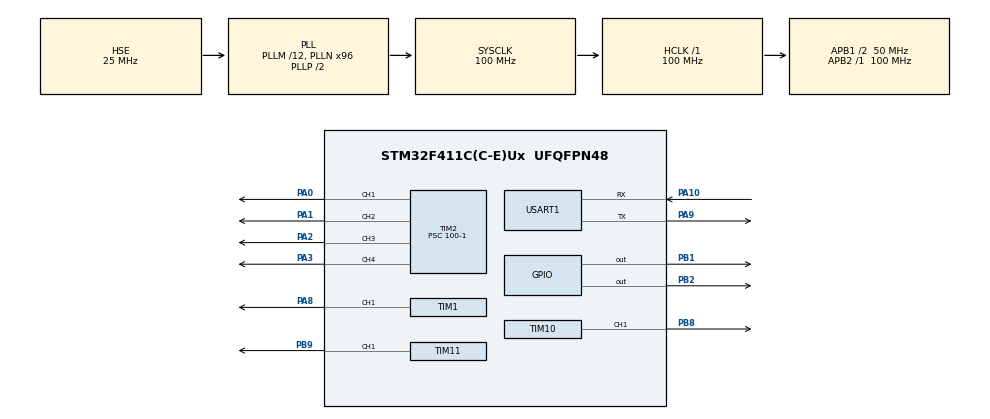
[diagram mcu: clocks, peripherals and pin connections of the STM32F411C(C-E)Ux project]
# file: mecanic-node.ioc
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Mcu.Family=STM32F4
Mcu.Name=STM32F411C(C-E)Ux
Mcu.Package=UFQFPN48
NVIC.PriorityGroup=NVIC_PRIORITYGROUP_4
NVIC.TIM2_IRQn=true\:0\:0\:false\:false\:true\:true\:true\:true
NVIC.USART1_IRQn=true\:0\:0\:false\:false\:true\:true\:true\:true
PA0-WKUP.GPIO_PuPd=GPIO_PULLDOWN
PA0-WKUP.Signal=S_TIM2_CH1_ETR
PA1.GPIO_PuPd=GPIO_PULLDOWN
PA1.Signal=S_TIM2_CH2
PA10.Mode=Asynchronous
PA10.Signal=USART1_RX
PA13.Mode=Serial_Wire
PA13.Signal=SYS_JTMS-SWDIO
PA14.Mode=Serial_Wire
PA14.Signal=SYS_JTCK-SWCLK
PA2.GPIO_PuPd=GPIO_PULLDOWN
PA2.Signal=S_TIM2_CH3
PA3.GPIO_PuPd=GPIO_PULLDOWN
PA3.Signal=S_TIM2_CH4
PA8.Signal=S_TIM1_CH1
PA9.Mode=Asynchronous
PA9.Signal=USART1_TX
PB1.Signal=GPIO_Output
PB2.Signal=GPIO_Output
PB8.Signal=S_TIM10_CH1
PB9.Signal=S_TIM11_CH1
PH0\ -\ OSC_IN.Mode=HSE-External-Oscillator
PH0\ -\ OSC_IN.Signal=RCC_OSC_IN
PH1\ -\ OSC_OUT.Mode=HSE-External-Oscillator
PH1\ -\ OSC_OUT.Signal=RCC_OSC_OUT
ProjectManager.HeapSize=0x200
ProjectManager.StackSize=0x400
ProjectManager.TargetToolchain=STM32CubeIDE
RCC.48MHZClocksFreq_Value=50000000
RCC.AHBFreq_Value=100000000
RCC.APB1CLKDivider=RCC_HCLK_DIV2
RCC.APB1Freq_Value=50000000
RCC.APB1TimFreq_Value=100000000
RCC.APB2Freq_Value=100000000
RCC.APB2TimFreq_Value=100000000
RCC.CortexFreq_Value=100000000
RCC.HCLKFreq_Value=100000000
RCC.HSE_VALUE=25000000
RCC.HSI_VALUE=16000000
RCC.LSE_VALUE=32768
RCC.PLLM=12
RCC.PLLN=96
RCC.PLLSourceVirtual=RCC_PLLSOURCE_HSE
RCC.SYSCLKFreq_VALUE=100000000
RCC.SYSCLKSource=RCC_SYSCLKSOURCE_PLLCLK
RCC.VCOOutputFreq_Value=200000000
SH.S_TIM10_CH1.0=TIM10_CH1,PWM Generation1 CH1
SH.S_TIM11_CH1.0=TIM11_CH1,PWM Generation1 CH1
SH.S_TIM1_CH1.0=TIM1_CH1,PWM Generation1 CH1
SH.S_TIM2_CH1_ETR.0=TIM2_CH1,Output Compare1 CH1
SH.S_TIM2_CH2.0=TIM2_CH2,Output Compare2 CH2
SH.S_TIM2_CH3.0=TIM2_CH3,Output Compare3 CH3
SH.S_TIM2_CH4.0=TIM2_CH4,Output Compare4 CH4
TIM1.Channel-PWM\ Generation1\ CH1=TIM_CHANNEL_1
TIM1.Period=10000-1
TIM1.Prescaler=200-1
TIM10.Channel=TIM_CHANNEL_1
TIM11.Channel=TIM_CHANNEL_1
TIM2.AutoReloadPreload=TIM_AUTORELOAD_PRELOAD_ENABLE
TIM2.Channel-Output\ Compare1\ CH1=TIM_CHANNEL_1
TIM2.Channel-Output\ Compare2\ CH2=TIM_CHANNEL_2
TIM2.Channel-Output\ Compare3\ CH3=TIM_CHANNEL_3
TIM2.Channel-Output\ Compare4\ CH4=TIM_CHANNEL_4
TIM2.OC1Preload=DISABLE
TIM2.OCMode_1=TIM_OCMODE_TOGGLE
TIM2.OCMode_2=TIM_OCMODE_TOGGLE
TIM2.OCMode_3=TIM_OCMODE_TOGGLE
TIM2.OCMode_4=TIM_OCMODE_TOGGLE
TIM2.Prescaler=100-1
USART1.VirtualMode=VM_ASYNC
VP_TIM10_VS_ClockSourceINT.Mode=Enable_Timer
VP_TIM11_VS_ClockSourceINT.Mode=Enable_Timer
VP_TIM1_VS_ClockSourceINT.Mode=Internal
board=custom

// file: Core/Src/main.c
/* USER CODE BEGIN Header */
/**
  ******************************************************************************
  * @file           : main.c
  * @brief          : Main program body
  ******************************************************************************
  * @attention
  *
  * Copyright (c) 2025 STMicroelectronics.
  * All rights reserved.
  *
  * This software is licensed under terms that can be found in the LICENSE file
  * in the root directory of this software component.
  * If no LICENSE file comes with this software, it is provided AS-IS.
  *
  ******************************************************************************
  */
/* USER CODE END Header */
#include "main.h"

/* USER CODE BEGIN Includes */
#include "servo.h"
#include "stepper.h"
#include "UART_mec.h"
/* USER CODE END Includes */

TIM_HandleTypeDef htim1;
TIM_HandleTypeDef htim2;
TIM_HandleTypeDef htim10;
TIM_HandleTypeDef htim11;

UART_HandleTypeDef huart1;

/* USER CODE BEGIN PV */
servo_t servo1 ={
		.htim = &htim1,
		.channel = TIM_CHANNEL_1,
		.current_angle=0,

};
servo_t servo2 ={
		.htim = &htim1,
		.channel = TIM_CHANNEL_3,
		.current_angle=0,

};
stepper_t stepper1 = {
		.htim = &htim2,
		.channel = TIM_CHANNEL_1,
		.GPIO_Direction = GPIOB,
		.GPIO_Pin_Direction  =GPIO_PIN_1,
		.counter=0,

};
stepper_t stepper2 = {
		.htim = &htim2,
		.channel = TIM_CHANNEL_2,
		.GPIO_Direction = GPIOB,
		.GPIO_Pin_Direction  =GPIO_PIN_2,
		.counter=0,

};
stepper_t stepper3 = {
		.htim = &htim2,
		.channel = TIM_CHANNEL_3,
		.GPIO_Direction = GPIOB,
		.GPIO_Pin_Direction  =GPIO_PIN_4,
		.counter=0,

};
stepper_t stepper4 = {
		.htim = &htim2,
		.channel = TIM_CHANNEL_4,
		.GPIO_Direction = GPIOB,
		.GPIO_Pin_Direction  =GPIO_PIN_3,
		.counter=0,

};
uint32_t count=0;
uint32_t step=100;
uint8_t  stepper_enb =1;
uint8_t  dir =0;
uint16_t speed = 0;
float speed_servo =0;
float angle_servo =0;
float accel =0;

/* USER CODE END PV */

void SystemClock_Config(void);
static void MX_GPIO_Init(void);
static void MX_TIM1_Init(void);
static void MX_TIM2_Init(void);
static void MX_TIM10_Init(void);
static void MX_TIM11_Init(void);
static void MX_USART1_UART_Init(void);

/* USER CODE BEGIN 0 */

void HAL_TIM_OC_DelayElapsedCallback(TIM_HandleTypeDef *htim)
{
    if (htim->Instance == TIM2){

    if (htim->Channel == HAL_TIM_ACTIVE_CHANNEL_1)
    {
        stepper_update(&stepper1);
    }
    else if (htim->Channel == HAL_TIM_ACTIVE_CHANNEL_2)
    {
        stepper_update(&stepper2);
    }
    if (htim->Channel == HAL_TIM_ACTIVE_CHANNEL_3)
       {
           stepper_update(&stepper3);
       }
       else if (htim->Channel == HAL_TIM_ACTIVE_CHANNEL_4)
       {
           stepper_update(&stepper4);
       }

    }
}

/* USER CODE END 0 */

int main(void)
{

  /* MCU Configuration--------------------------------------------------------*/

  /* Reset of all peripherals, Initializes the Flash interface and the Systick. */
  HAL_Init();

  /* Configure the system clock */
  SystemClock_Config();

  /* Initialize all configured peripherals */
  MX_GPIO_Init();
  MX_TIM1_Init();
  MX_TIM2_Init();
  MX_TIM10_Init();
  MX_TIM11_Init();
  MX_USART1_UART_Init();
  /* USER CODE BEGIN 2 */
 servo_init(&servo1);

  UART_receive();

  stepper_move_accel(&stepper1, step, speed, accel, dir);
  stepper_move_accel(&stepper2, step, speed, accel, dir);

  //stepper_move(&stepper2, step, speed, dir);

  /* USER CODE END 2 */

  /* Infinite loop */
  /* USER CODE BEGIN WHILE */
  while (1)
  {
	  //servo_set_speed(&servo1, 70);

	  //servo_move_smooth(&servo1, angle_servo, speed_servo);
	  //servo_set_speed(&servo1, speed_servo);

/*
	  	  if(stepper_enb){
	  		  stepper_move(&stepper_hug, step, speed, dir);

	  	  }else {
	  		 stepper_stop(&stepper_hug);

	  	  }*/

    /* USER CODE END WHILE */

  }
}

void SystemClock_Config(void)
{
  RCC_OscInitTypeDef RCC_OscInitStruct = {0};
  RCC_ClkInitTypeDef RCC_ClkInitStruct = {0};

  /** Configure the main internal regulator output voltage
  */
  __HAL_RCC_PWR_CLK_ENABLE();
  __HAL_PWR_VOLTAGESCALING_CONFIG(PWR_REGULATOR_VOLTAGE_SCALE1);

  /** Initializes the RCC Oscillators according to the specified parameters
  * in the RCC_OscInitTypeDef structure.
  */
  RCC_OscInitStruct.OscillatorType = RCC_OSCILLATORTYPE_HSE;
  RCC_OscInitStruct.HSEState = RCC_HSE_ON;
  RCC_OscInitStruct.PLL.PLLState = RCC_PLL_ON;
  RCC_OscInitStruct.PLL.PLLSource = RCC_PLLSOURCE_HSE;
  RCC_OscInitStruct.PLL.PLLM = 12;
  RCC_OscInitStruct.PLL.PLLN = 96;
  RCC_OscInitStruct.PLL.PLLP = RCC_PLLP_DIV2;
  RCC_OscInitStruct.PLL.PLLQ = 4;
  if (HAL_RCC_OscConfig(&RCC_OscInitStruct) != HAL_OK)
  {
    Error_Handler();
  }

  /** Initializes the CPU, AHB and APB buses clocks
  */
  RCC_ClkInitStruct.ClockType = RCC_CLOCKTYPE_HCLK|RCC_CLOCKTYPE_SYSCLK
                              |RCC_CLOCKTYPE_PCLK1|RCC_CLOCKTYPE_PCLK2;
  RCC_ClkInitStruct.SYSCLKSource = RCC_SYSCLKSOURCE_PLLCLK;
  RCC_ClkInitStruct.AHBCLKDivider = RCC_SYSCLK_DIV1;
  RCC_ClkInitStruct.APB1CLKDivider = RCC_HCLK_DIV2;
  RCC_ClkInitStruct.APB2CLKDivider = RCC_HCLK_DIV1;

  if (HAL_RCC_ClockConfig(&RCC_ClkInitStruct, FLASH_LATENCY_3) != HAL_OK)
  {
    Error_Handler();
  }
}

static void MX_TIM1_Init(void)
{

  TIM_ClockConfigTypeDef sClockSourceConfig = {0};
  TIM_MasterConfigTypeDef sMasterConfig = {0};
  TIM_OC_InitTypeDef sConfigOC = {0};
  TIM_BreakDeadTimeConfigTypeDef sBreakDeadTimeConfig = {0};

  htim1.Instance = TIM1;
  htim1.Init.Prescaler = 200-1;
  htim1.Init.CounterMode = TIM_COUNTERMODE_UP;
  htim1.Init.Period = 10000-1;
  htim1.Init.ClockDivision = TIM_CLOCKDIVISION_DIV1;
  htim1.Init.RepetitionCounter = 0;
  htim1.Init.AutoReloadPreload = TIM_AUTORELOAD_PRELOAD_DISABLE;
  if (HAL_TIM_Base_Init(&htim1) != HAL_OK)
  {
    Error_Handler();
  }
  sClockSourceConfig.ClockSource = TIM_CLOCKSOURCE_INTERNAL;
  if (HAL_TIM_ConfigClockSource(&htim1, &sClockSourceConfig) != HAL_OK)
  {
    Error_Handler();
  }
  if (HAL_TIM_PWM_Init(&htim1) != HAL_OK)
  {
    Error_Handler();
  }
  sMasterConfig.MasterOutputTrigger = TIM_TRGO_RESET;
  sMasterConfig.MasterSlaveMode = TIM_MASTERSLAVEMODE_DISABLE;
  if (HAL_TIMEx_MasterConfigSynchronization(&htim1, &sMasterConfig) != HAL_OK)
  {
    Error_Handler();
  }
  sConfigOC.OCMode = TIM_OCMODE_PWM1;
  sConfigOC.Pulse = 0;
  sConfigOC.OCPolarity = TIM_OCPOLARITY_HIGH;
  sConfigOC.OCNPolarity = TIM_OCNPOLARITY_HIGH;
  sConfigOC.OCFastMode = TIM_OCFAST_DISABLE;
  sConfigOC.OCIdleState = TIM_OCIDLESTATE_RESET;
  sConfigOC.OCNIdleState = TIM_OCNIDLESTATE_RESET;
  if (HAL_TIM_PWM_ConfigChannel(&htim1, &sConfigOC, TIM_CHANNEL_1) != HAL_OK)
  {
    Error_Handler();
  }
  sBreakDeadTimeConfig.OffStateRunMode = TIM_OSSR_DISABLE;
  sBreakDeadTimeConfig.OffStateIDLEMode = TIM_OSSI_DISABLE;
  sBreakDeadTimeConfig.LockLevel = TIM_LOCKLEVEL_OFF;
  sBreakDeadTimeConfig.DeadTime = 0;
  sBreakDeadTimeConfig.BreakState = TIM_BREAK_DISABLE;
  sBreakDeadTimeConfig.BreakPolarity = TIM_BREAKPOLARITY_HIGH;
  sBreakDeadTimeConfig.AutomaticOutput = TIM_AUTOMATICOUTPUT_DISABLE;
  if (HAL_TIMEx_ConfigBreakDeadTime(&htim1, &sBreakDeadTimeConfig) != HAL_OK)
  {
    Error_Handler();
  }
  HAL_TIM_MspPostInit(&htim1);

}

static void MX_TIM2_Init(void)
{

  TIM_MasterConfigTypeDef sMasterConfig = {0};
  TIM_OC_InitTypeDef sConfigOC = {0};

  htim2.Instance = TIM2;
  htim2.Init.Prescaler = 100-1;
  htim2.Init.CounterMode = TIM_COUNTERMODE_UP;
  htim2.Init.Period = 4294967295;
  htim2.Init.ClockDivision = TIM_CLOCKDIVISION_DIV1;
  htim2.Init.AutoReloadPreload = TIM_AUTORELOAD_PRELOAD_ENABLE;
  if (HAL_TIM_OC_Init(&htim2) != HAL_OK)
  {
    Error_Handler();
  }
  sMasterConfig.MasterOutputTrigger = TIM_TRGO_RESET;
  sMasterConfig.MasterSlaveMode = TIM_MASTERSLAVEMODE_DISABLE;
  if (HAL_TIMEx_MasterConfigSynchronization(&htim2, &sMasterConfig) != HAL_OK)
  {
    Error_Handler();
  }
  sConfigOC.OCMode = TIM_OCMODE_TOGGLE;
  sConfigOC.Pulse = 0;
  sConfigOC.OCPolarity = TIM_OCPOLARITY_HIGH;
  sConfigOC.OCFastMode = TIM_OCFAST_DISABLE;
  if (HAL_TIM_OC_ConfigChannel(&htim2, &sConfigOC, TIM_CHANNEL_1) != HAL_OK)
  {
    Error_Handler();
  }
  if (HAL_TIM_OC_ConfigChannel(&htim2, &sConfigOC, TIM_CHANNEL_2) != HAL_OK)
  {
    Error_Handler();
  }
  if (HAL_TIM_OC_ConfigChannel(&htim2, &sConfigOC, TIM_CHANNEL_3) != HAL_OK)
  {
    Error_Handler();
  }
  if (HAL_TIM_OC_ConfigChannel(&htim2, &sConfigOC, TIM_CHANNEL_4) != HAL_OK)
  {
    Error_Handler();
  }
  HAL_TIM_MspPostInit(&htim2);

}

static void MX_TIM10_Init(void)
{

  TIM_OC_InitTypeDef sConfigOC = {0};

  htim10.Instance = TIM10;
  htim10.Init.Prescaler = 0;
  htim10.Init.CounterMode = TIM_COUNTERMODE_UP;
  htim10.Init.Period = 65535;
  htim10.Init.ClockDivision = TIM_CLOCKDIVISION_DIV1;
  htim10.Init.AutoReloadPreload = TIM_AUTORELOAD_PRELOAD_DISABLE;
  if (HAL_TIM_Base_Init(&htim10) != HAL_OK)
  {
    Error_Handler();
  }
  if (HAL_TIM_PWM_Init(&htim10) != HAL_OK)
  {
    Error_Handler();
  }
  sConfigOC.OCMode = TIM_OCMODE_PWM1;
  sConfigOC.Pulse = 0;
  sConfigOC.OCPolarity = TIM_OCPOLARITY_HIGH;
  sConfigOC.OCFastMode = TIM_OCFAST_DISABLE;
  if (HAL_TIM_PWM_ConfigChannel(&htim10, &sConfigOC, TIM_CHANNEL_1) != HAL_OK)
  {
    Error_Handler();
  }
  HAL_TIM_MspPostInit(&htim10);

}

static void MX_TIM11_Init(void)
{

  TIM_OC_InitTypeDef sConfigOC = {0};

  htim11.Instance = TIM11;
  htim11.Init.Prescaler = 0;
  htim11.Init.CounterMode = TIM_COUNTERMODE_UP;
  htim11.Init.Period = 65535;
  htim11.Init.ClockDivision = TIM_CLOCKDIVISION_DIV1;
  htim11.Init.AutoReloadPreload = TIM_AUTORELOAD_PRELOAD_DISABLE;
  if (HAL_TIM_Base_Init(&htim11) != HAL_OK)
  {
    Error_Handler();
  }
  if (HAL_TIM_PWM_Init(&htim11) != HAL_OK)
  {
    Error_Handler();
  }
  sConfigOC.OCMode = TIM_OCMODE_PWM1;
  sConfigOC.Pulse = 0;
  sConfigOC.OCPolarity = TIM_OCPOLARITY_HIGH;
  sConfigOC.OCFastMode = TIM_OCFAST_DISABLE;
  if (HAL_TIM_PWM_ConfigChannel(&htim11, &sConfigOC, TIM_CHANNEL_1) != HAL_OK)
  {
    Error_Handler();
  }
  HAL_TIM_MspPostInit(&htim11);

}

static void MX_USART1_UART_Init(void)
{

  huart1.Instance = USART1;
  huart1.Init.BaudRate = 115200;
  huart1.Init.WordLength = UART_WORDLENGTH_8B;
  huart1.Init.StopBits = UART_STOPBITS_1;
  huart1.Init.Parity = UART_PARITY_NONE;
  huart1.Init.Mode = UART_MODE_TX_RX;
  huart1.Init.HwFlowCtl = UART_HWCONTROL_NONE;
  huart1.Init.OverSampling = UART_OVERSAMPLING_16;
  if (HAL_UART_Init(&huart1) != HAL_OK)
  {
    Error_Handler();
  }

}

static void MX_GPIO_Init(void)
{
  GPIO_InitTypeDef GPIO_InitStruct = {0};

  /* GPIO Ports Clock Enable */
  __HAL_RCC_GPIOH_CLK_ENABLE();
  __HAL_RCC_GPIOA_CLK_ENABLE();
  __HAL_RCC_GPIOB_CLK_ENABLE();

  /*Configure GPIO pin Output Level */
  HAL_GPIO_WritePin(GPIOB, GPIO_PIN_1|GPIO_PIN_2, GPIO_PIN_RESET);

  /*Configure GPIO pins : PB1 PB2 */
  GPIO_InitStruct.Pin = GPIO_PIN_1|GPIO_PIN_2;
  GPIO_InitStruct.Mode = GPIO_MODE_OUTPUT_PP;
  GPIO_InitStruct.Pull = GPIO_NOPULL;
  GPIO_InitStruct.Speed = GPIO_SPEED_FREQ_LOW;
  HAL_GPIO_Init(GPIOB, &GPIO_InitStruct);

}

void Error_Handler(void)
{
  __disable_irq();
  while (1)
  {
  }
}
